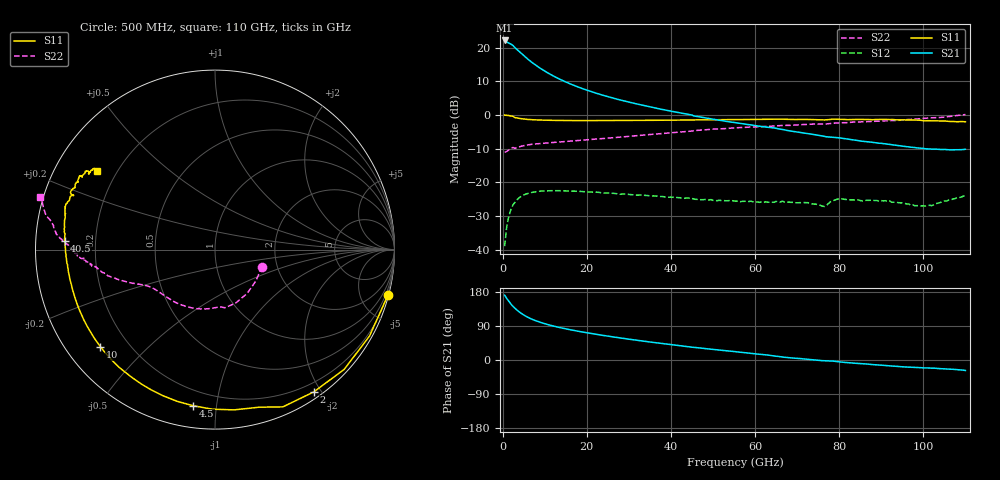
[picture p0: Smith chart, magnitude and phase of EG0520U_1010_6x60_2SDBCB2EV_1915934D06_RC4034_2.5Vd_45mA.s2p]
!File name = EG0520U_1010_6x60_2SDBCB2EV_1915934D06_RC4034_2.5Vd_45mA.s2p
!Base file name = EG0520U_1010_6x60_2SDBCB2EV_1915934D06_RC4034
!Date = 8/23/2019
!Time = 12:56 PM
!Test duration(min) = 0.15
!Test = S-Parameters
!MPTS version = 8.91.5
!State File = C:\Data\PNA\20190821205423\S-Parameters_2019-08-23.sta
!Cal File =
!ComputerName = CMPE-LAB-6
!Comments =
!Attenuation = 0
!Z0 = 50
!Input Power(dBm) = -13.00
!Device ID = EG0520U_1010_6x60_2SDBCB2EV
!Row = 40
!Column = 34
!Technology = QPHT09
!Lot/Wafer = 1915934D06
!Gate Size = 360
!Mask = EG0520
!Cal Standards = GaAs BCB
!Cal Kit = EG2306
!Job Number = 20190821205423
!Device Type = FET
!set_Vg(v) = -1.500
!set_Vd(v) = 2.500
!set_Vd(mA) = 45.000
!file_name = EG0520U_1010_6x60_2SDBCB2EV_1915934D06_RC4034_2.5Vd_45mA.s2p
!Vd(V) = 2.500
!Vd(mA) = 45.135
!Vg(V) = -0.468
!Vg(mA) = -0.001
# GHz  S  DB  R  50
!%	Freq(GHz)  s11(dB)  s11(deg)  s21(dB)  s21(deg)  s12(dB)  s12(deg)  s22(dB)  s22(deg)
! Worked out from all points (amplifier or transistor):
!   220 points, 500 MHz to 110 GHz, reference 50 ohm
!   highest |S21| = 22.1 dB at 500 MHz (marker M1)
!   |S21| within 3 dB of that: start of sweep to 3.712 GHz
!   unconditionally stable (mu >= 1): 34.49 GHz to 104 GHz
!   at 18.5 GHz: K = 0.52, MSG = 15.4 dB, |S12| = -22.7 dB
!   at 55.5 GHz: K = 1.50, MAG = 7.5 dB, |S12| = -25.6 dB
!   at 110 GHz: K = -1.08, MSG = 6.9 dB, |S12| = -24.0 dB
!   S11 on the Smith chart (normalised r, x): 500 MHz: 0.12, -7.70; 2 GHz: 0.08, -1.91; 4.5 GHz: 0.11, -0.86; 10 GHz: 0.10, -0.36; 40.5 GHz: 0.09, +0.03; 110 GHz: 0.13, +0.30
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0.5  -0.03 -14.8  22.12 171.1  -38.96 81.4  -11.09 -19.9
1  -0.12 -29.2  21.70 162.4  -33.19 73.6  -10.84 -37.7
2  -0.31 -55.2  21.05 147.7  -28.05 59.3  -9.92 -68.7
2.5  -0.41 -66.6  20.62 141.3  -26.68 53.5  -9.66 -80.2
3  -0.80 -74.4  19.92 136.3  -25.86 49.2  -9.91 -85.3
3.5  -0.92 -83.2  19.36 131.2  -25.11 44.9  -9.66 -93.6
4.5  -1.12 -97.9  18.22 122.7  -24.12 37.5  -9.26 -106.8
5.5  -1.27 -109.5  17.13 115.8  -23.52 31.8  -9.01 -116.5
7  -1.42 -122.7  15.61 107.6  -23.00 25.4  -8.71 -126.6
8.5  -1.48 -132.2  14.26 101.3  -22.68 20.8  -8.54 -133.0
10  -1.54 -139.7  13.05 95.9  -22.54 16.9  -8.37 -138.0
11.5  -1.59 -145.7  11.96 91.3  -22.49 14.0  -8.23 -141.7
13.5  -1.63 -152.0  10.69 85.9  -22.49 10.9  -8.02 -145.2
19  -1.68 -163.5  7.83 73.9  -22.74 5.2  -7.48 -150.9
26.5  -1.66 -172.9  4.92 60.5  -23.29 1.9  -6.71 -155.2
37  -1.57 179.0  1.88 44.7  -24.10 1.0  -5.61 -159.9
40.5  -1.52 176.7  1.02 39.9  -24.44 1.2  -5.24 -161.6
55.5  -1.38 168.3  -2.32 21.7  -25.62 3.0  -3.81 -168.9
73.5  -1.37 159.4  -5.73 0.8  -26.37 -0.2  -2.71 -175.6
92  -1.37 151.2  -8.75 -15.5  -25.50 -12.3  -1.68 177.9
102  -1.74 148.3  -10.16 -21.5  -26.92 -7.9  -0.85 172.2
110  -2.04 146.2  -10.19 -27.6  -24.00 -12.1  0.14 163.2
